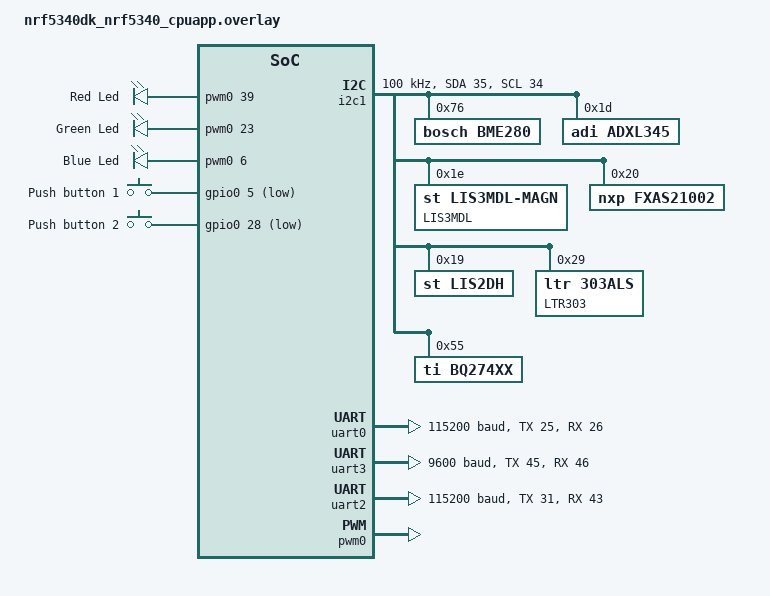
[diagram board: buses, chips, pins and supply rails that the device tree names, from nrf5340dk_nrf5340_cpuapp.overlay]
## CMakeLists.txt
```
# SPDX-License-Identifier: Apache-2.0

# This build is dependent on:
#  - ZEPHYR_BASE
# Please add the path locations in your $ENV settings



cmake_minimum_required(VERSION 3.20.0)

set(NRF_SUPPORTED_BOARDS nrf5340dk_nrf5340_cpuapp)

list(APPEND ZEPHYR_EXTRA_MODULES ${CMAKE_CURRENT_SOURCE_DIR}/ltr303)
list(APPEND ZEPHYR_EXTRA_MODULES ${CMAKE_CURRENT_SOURCE_DIR}/icg20330)
list(APPEND ZEPHYR_EXTRA_MODULES ${CMAKE_CURRENT_SOURCE_DIR}/bq27520)
list(APPEND ZEPHYR_EXTRA_MODULES ${CMAKE_CURRENT_SOURCE_DIR}/ubxlib)
#list(APPEND ZEPHYR_EXTRA_MODULES $ENV{UBXLIB_BASE})


find_package(Zephyr REQUIRED HINTS $ENV{ZEPHYR_BASE})
project(c210_SensorAggregation)


target_include_directories(app PRIVATE ${CMAKE_CURRENT_SOURCE_DIR}/src/ublox_modules)
target_include_directories(app PRIVATE ${CMAKE_CURRENT_SOURCE_DIR}/src/ublox_modules/cell)
target_include_directories(app PRIVATE ${CMAKE_CURRENT_SOURCE_DIR}/src/ublox_modules/wifi)
target_include_directories(app PRIVATE ${CMAKE_CURRENT_SOURCE_DIR}/src/ublox_modules/position)
target_include_directories(app PRIVATE ${CMAKE_CURRENT_SOURCE_DIR}/src/ublox_modules/ble)
target_include_directories(app PRIVATE ${CMAKE_CURRENT_SOURCE_DIR}/src/ublox_modules/ble/mobile_app_protocol)
target_include_directories(app PRIVATE ${CMAKE_CURRENT_SOURCE_DIR}/src/ublox_modules/nfc)
target_include_directories(app PRIVATE ${CMAKE_CURRENT_SOURCE_DIR}/src/sensors)
target_include_directories(app PRIVATE ${CMAKE_CURRENT_SOURCE_DIR}/src/data_handle)
target_include_directories(app PRIVATE ${CMAKE_CURRENT_SOURCE_DIR}/src/buttons_leds)
target_include_directories(app PRIVATE ${CMAKE_CURRENT_SOURCE_DIR}/src/system)
target_include_directories(app PRIVATE ${CMAKE_CURRENT_SOURCE_DIR}/src/shell_cmd)
target_include_directories(app PRIVATE ${CMAKE_CURRENT_SOURCE_DIR}/src)

FILE(GLOB app_sources src/*.c)
FILE(GLOB head_sources src/*.h)
FILE(GLOB sensor_sources src/sensors/*.c)
FILE(GLOB ublox_modules_sources src/ublox_modules/*.c)
FILE(GLOB ublox_modules_cell_sources src/ublox_modules/cell/*.c)
FILE(GLOB ublox_modules_wifi_sources src/ublox_modules/wifi/*.c)
FILE(GLOB ublox_modules_position_sources src/ublox_modules/position/*.c)
FILE(GLOB ublox_modules_ble_sources src/ublox_modules/ble/*.c)
FILE(GLOB ublox_modules_mobile_app_protocol_sources src/ublox_modules/ble/mobile_app_protocol/*.c)
FILE(GLOB ublox_modules_nfc_sources src/ublox_modules/nfc/*.c)
FILE(GLOB data_handle_sources src/data_handle/*.c)
FILE(GLOB buttons_leds_sources src/buttons_leds/*.c)
FILE(GLOB system_sources src/system/*.c)
FILE(GLOB shell_cmd_sources src/shell_cmd/*.c)

target_sources(app PRIVATE ${app_sources})
target_sources(app PRIVATE ${head_sources})
target_sources(app PRIVATE ${sensor_sources})
target_sources(app PRIVATE ${ublox_modules_sources})
target_sources(app PRIVATE ${ublox_modules_cell_sources})
target_sources(app PRIVATE ${ublox_modules_wifi_sources})
target_sources(app PRIVATE ${ublox_modules_position_sources})
target_sources(app PRIVATE ${ublox_modules_ble_sources})
target_sources(app PRIVATE ${ublox_modules_mobile_app_protocol_sources})
target_sources(app PRIVATE ${ublox_modules_nfc_sources})
target_sources(app PRIVATE ${data_handle_sources})
target_sources(app PRIVATE ${buttons_leds_sources})
target_sources(app PRIVATE ${system_sources})
target_sources(app PRIVATE ${shell_cmd_sources})
```

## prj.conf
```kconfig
# --- Zephyr configuration ---
CONFIG_MAX_THREAD_BYTES=5

# --- Sensor configuration ---
CONFIG_SENSOR=y
CONFIG_I2C=y
CONFIG_BME280=y
CONFIG_LIS3MDL=y
CONFIG_LIS3MDL_TRIGGER_NONE=y
CONFIG_ICG20330=y
CONFIG_LIS2DH=y
CONFIG_LIS2DH_TRIGGER_NONE=y
CONFIG_LTR303=y
# include both battery gauges and choose in runtime which to use
CONFIG_BQ27520=y
CONFIG_BQ274XX=y
CONFIG_SENSOR_LOG_LEVEL_WRN=y

# --- Led Configuration ---
CONFIG_PWM=y
CONFIG_LED=y
CONFIG_LED_PWM=y


# --- Logger Configuration ---
CONFIG_LOG=y
CONFIG_LOG_PRINTK=y
CONFIG_LOG_MODE_DEFERRED=y
CONFIG_LOG_DETECT_MISSED_STRDUP=n
CONFIG_LOG_RUNTIME_FILTERING=y
CONFIG_LOG_BUFFER_SIZE=16384
CONFIG_LOG_PROCESS_TRIGGER_THRESHOLD=0

CONFIG_STDOUT_CONSOLE=y
CONFIG_CBPRINTF_FP_SUPPORT=y

# --- Command shell configuration ---
CONFIG_SHELL=y
CONFIG_SHELL_CMDS=n
CONFIG_KERNEL_SHELL=n
CONFIG_DEVICE_SHELL=n
CONFIG_DEVMEM_SHELL=n
CONFIG_FLASH_SHELL=n
CONFIG_PWM_SHELL=n
CONFIG_CLOCK_CONTROL_NRF_SHELL=n
CONFIG_I2C_SHELL=n
#cool sensor reading for dedicated sensor but some peripheral 
#readings may cause instabilities. Better to keep it off to retain
#control over the shell
CONFIG_SENSOR_SHELL=n 


# enable to use Segger SystemView (with thread names)
#CONFIG_THREAD_NAME=y
#CONFIG_SEGGER_SYSTEMVIEW=y
#CONFIG_USE_SEGGER_RTT=y
#CONFIG_TRACING=y


# --- Flash Configuration / Little FS config ------
CONFIG_FLASH=y
CONFIG_FLASH_MAP=y
CONFIG_FLASH_PAGE_LAYOUT=y

CONFIG_FILE_SYSTEM=y
CONFIG_FILE_SYSTEM_LITTLEFS=y


# --- NFC Configuration ------
CONFIG_NFC_T2T_NRFXLIB=y
CONFIG_NFC_NDEF=y
CONFIG_NFC_NDEF_MSG=y
CONFIG_NFC_NDEF_RECORD=y
CONFIG_NFC_NDEF_URI_MSG=y
CONFIG_NFC_NDEF_URI_REC=y



###########################################
# --- used by ubxlib ---


CONFIG_DEBUG=y
CONFIG_MINIMAL_LIBC=n
# This is the memory used by the porting layer
CONFIG_HEAP_MEM_POOL_SIZE=131072
CONFIG_USERSPACE=y
#CONFIG_NET_BUF_USER_DATA_SIZE=4

CONFIG_MINIMAL_LIBC_MALLOC=n

# Enable ubxlib
CONFIG_UBXLIB=y

CONFIG_UBXLIB_GNSS=y

CONFIG_UART_INTERRUPT_DRIVEN=y

#To get uPortTaskStackMinFree() working
CONFIG_INIT_STACKS=y
CONFIG_THREAD_STACK_INFO=y
CONFIG_THREAD_NAME=y

# To be able to use semaphore from ISR
#CONFIG_IRQ_OFFLOAD=y

#Sufficient main stack to pass all tests and leave
#5 kbytes slack for user code
CONFIG_MAIN_STACK_SIZE=7048

# Add the basic Zephyr random number generator.
# IMPORTANT: this is only psuedo-random and is unlikely
# to be  sufficient for your needs, please check/test
# if you are intending to build production code.
#CONFIG_TEST_RANDOM_GENERATOR=n
#CONFIG_ENTROPY_DEVICE_RANDOM_GENERATOR=n

# Don't hide any potential errors
CONFIG_ASSERT=y

# SEGGER RTT logging instead of UART
CONFIG_LOG=y
CONFIG_LOG_DEFAULT_LEVEL=3
#If Log level 4 is set the log stack size needs to be increased
#CONFIG_LOG_PROCESS_THREAD_STACK_SIZE=8096
CONFIG_DEBUG_OPTIMIZATIONS=y
CONFIG_USE_SEGGER_RTT=n
#CONFIG_RTT_CONSOLE=n
CONFIG_UART_CONSOLE=y
CONFIG_LOG_BACKEND_UART=n
#CONFIG_LOG_BACKEND_SHOW_COLOR=y
# End of SEGGER RTT

# Enable debug thread info
CONFIG_OPENOCD_SUPPORT=y



###########################################
# --- Bluetooth ---

CONFIG_BT=y
CONFIG_BT_PERIPHERAL=y
CONFIG_BT_DEVICE_NAME="XPLR_IOT_1"
CONFIG_BT_DEVICE_APPEARANCE=833
CONFIG_BT_MAX_CONN=1
CONFIG_BT_MAX_PAIRED=1

## BLE MTU Config
CONFIG_BT_BUF_ACL_RX_SIZE=251
CONFIG_BT_BUF_ACL_TX_SIZE=251
CONFIG_BT_L2CAP_TX_MTU=247
#CONFIG_BT_CTLR_DATA_LENGTH_MAX=251

# Enable the NUS service
CONFIG_BT_NUS=y

# -- BLE Address Change --
CONFIG_BT_HCI_VS=y
CONFIG_BT_HCI_VS_EXT=y
CONFIG_SETTINGS=y
# This option will produce a harmless error
# It does not affect functionality
CONFIG_SETTINGS_NONE=y
CONFIG_BT_SETTINGS=y
```

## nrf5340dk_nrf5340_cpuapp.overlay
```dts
&i2c1 {
    compatible = "nordic,nrf-twim";
	status = "okay";
	sda-pin = < 35 >;
	scl-pin = < 34 >;
    clock-frequency = <I2C_BITRATE_STANDARD>;  
	
	bme280@76 {
		compatible = "bosch,bme280";
		reg = <0x76>;
		label = "BME280";
	};

	adxl345@1D {
		compatible = "adi,adxl345";
		reg = <0x1D>;
		label = "ADXL345";
	};

	lis3mdl@1E {
		compatible = "st,lis3mdl-magn";
		reg = <0x1E>;
		label = "LIS3MDL";
	};

	fxas21002@20 {
		compatible = "nxp,fxas21002";
		reg = <0x20>;
		label = "FXAS21002";
	};

	lis2dh@19 {
		compatible = "st,lis2dh";
		reg = <0x19>;
		label = "LIS2DH";
	};

	ltr303: ltr303@29 { 
		compatible = "ltr,303als"; 
		reg = <0x29>; 
		label = "LTR303"; 
	};

	bq27421@55 {
		compatible = "ti,bq274xx";
		label = "BQ274XX";
		reg = <0x55>;
		design-voltage = <3700>;
		design-capacity = <1200>;
		taper-current = <45>;
		terminate-voltage = <3000>;
	};
};

// console uart
&uart0 {
	status = "okay";
	current-speed = <115200>;
	tx-pin = <25>;
	rx-pin = <26>;
	rts-pin = <27>;
	cts-pin = <24>;
};


// MaxM10S uart
&uart3 {
	status = "okay";
	current-speed = <9600>;//38400
	tx-pin = <45>;
	rx-pin = <46>;
};

// Default configuration is set on the NINA-W156 pins, the same UART is also used by SARA-R5
&uart2 {
	status = "okay";
	current-speed = <115200>;
	tx-pin = <31>;  
	rx-pin = <43>;
	cts-pin = <30>;  
	rts-pin = <20>;  
	hw-flow-control;
};


// Buttons
&button0 {
	gpios = <&gpio0 5 (GPIO_PULL_UP | GPIO_ACTIVE_LOW)>;
	label = "Push button 1";
};

&button1 {
	gpios = <&gpio0 28 (GPIO_PULL_UP | GPIO_ACTIVE_LOW)>;
	label = "Push button 2";
};

//PWM for Led control brightness
&pwm0 {
	status = "okay";
	ch0-pin = <39>;
	ch1-pin = <23>;
	ch2-pin = <6>;
};

// Leds at PWM channels
/{
	pwmleds {
		compatible = "pwm-leds";
		
		pwm_led0: pwm_led_0 {
			pwms = <&pwm0 39>;
			label = "Red Led";
		};
		
		pwm_led1: pwm_led_1 {
			pwms = <&pwm0 23>;
			label = "Green Led";
		};
		
		pwm_led2: pwm_led_2 {
			pwms = <&pwm0 6>;
			label = "Blue Led";
		};

	};

			
};
```

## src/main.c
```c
/*
 * Copyright 2022 u-blox Ltd
 *
 * Licensed under the Apache License, Version 2.0 (the "License");
 * you may not use this file except in compliance with the License.
 * You may obtain a copy of the License at
 * 
	http://www.apache.org/licenses/LICENSE-2.0
 * 
 * Unless required by applicable law or agreed to in writing, software
 * distributed under the License is distributed on an "AS IS" BASIS,
 * WITHOUT WARRANTIES OR CONDITIONS OF ANY KIND, either express or implied.
 * See the License for the specific language governing permissions and
 * limitations under the License.
 */


/** @file
 * @brief File containing the main function of the application,
 *  In this application the main function just initializes the necessary modules
 *  The rest of the application is executed via Threads/ commands 
 *  ( shell commands or button press actions )
 */

#include <zephyr.h>
#include <logging/log.h>
#include <logging/log_ctrl.h>

#include "x_sens_bme280.h"
#include "x_sens_lis3mdl.h"
#include "x_sens_icg20330.h"
#include "x_sens_lis2dh12.h"
#include "x_sens_ltr303.h"
#include "x_sens_battery_gauge.h"
#include "x_sens_common.h"

#include "x_pos_maxm10s.h"
#include "x_wifi_ninaW156.h"
#include "x_cell_saraR5.h"
#include "x_nfc.h"
#include "x_ble.h"

#include "x_storage.h"
#include "x_button.h"
#include "x_led.h"

#include "x_logging.h"



// Just initialization processes
void main(void)
{

	// Reclaim pins assigned to Net core for use with App core
	xPinConfReclaimNetCorePins();

	//Initialize sensors
	xSensBme280Init();
	xSensLis3mdlInit();
	xSensIcg20330Init();
	xSensLis2dh12Init();
	xSensLtr303Init();
	xSensBatGaugeInit();

	// Set sensors to not sample until command given
	xSensDisableAll();

	xLedInit();
		
	// Initialize ublox modules
	xCellSaraConfigPins();
	xWifiNinaConfigPins();
	xPosMaxM10ConfigPins();

    // Set GNSS position not to be sampled until command given
	xPosMaxM10Disable();

    // Initializes non-Volatile memory of NORA-B1 for use with littlefs
	//xStorageInit();
	xButtonsConfig();

	// Set the Logger module status to a desired startup config
	// before that process any pending log messages from startup
	// procedures
	while( log_process(false) ){
		;
	}
	xLogStartupConfig();

	// Bluetooth LE (BLE) Functionality
	xBleInit();
	xBleStartAdvertising();

	// MFC Functionality
	xNfcConfig();
	xNfcInit();

	/* From now on the application waits for commands from the user
	 * (either via shell UART terminal or via button presses or BLE commands)
	 * and enables the appropriate threads (or functions) to execute those
	 * commands. You can access shell commands in source code from shell_cmd 
	 * directory.
	*/
}
```

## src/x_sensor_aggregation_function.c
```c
/*
 * Copyright 2022 u-blox Ltd
 *
 * Licensed under the Apache License, Version 2.0 (the "License");
 * you may not use this file except in compliance with the License.
 * You may obtain a copy of the License at
 * 
    http://www.apache.org/licenses/LICENSE-2.0
 * 
 * Unless required by applicable law or agreed to in writing, software
 * distributed under the License is distributed on an "AS IS" BASIS,
 * WITHOUT WARRANTIES OR CONDITIONS OF ANY KIND, either express or implied.
 * See the License for the specific language governing permissions and
 * limitations under the License.
 */


/** @file
 * @brief This file contains the API implementation to access the main
 * functionality of Sensor Aggregation Use Case for XPLR-IOT-1.
 */

#include "x_sensor_aggregation_function.h"

// Zephyr-SDK related
#include <zephyr.h>
#include <stdlib.h>  //atoi
#include <logging/log.h>

// Application Related
#include "x_wifi_ninaW156.h"
#include "x_cell_saraR5.h"
#include "x_wifi_mqtt.h"
#include "x_cell_mqttsn.h"
#include "x_pos_maxm10s.h"
#include "x_logging.h"
#include "x_sens_common.h"
#include "x_data_handle.h" // reset sensor aggregation message
#include "x_system_conf.h" // default period of sens aggr functionality
#include "x_led.h"


/* ----------------------------------------------------------------
 * STATIC FUNCTION DECLARATION
 * -------------------------------------------------------------- */

/** Thread called by xSensorAggregationStartWifi to perform the necessary
 * operations */
void xSensorAggregationStartWifiThread(void);

/** Thread called by xSensorAggregationStopWifi to perform the necessary
 * operations */
void xSensorAggregationStopWifiThread(void);

/** Thread called by xSensorAggregationStartCell to perform the necessary
 * operations */
void xSensorAggregationStartCellThread(void);

/** Thread called by xSensorAggregationStopCell to perform the necessary
 * operations */
void xSensorAggregationStopCellThread(void);


/** Handle error happening in a thread */
static void SensorAggregationErrorHandle(err_code err_code);


/* ----------------------------------------------------------------
 * ZEPHYR RELATED DEFINITIONS/DECLARATIONS
 * -------------------------------------------------------------- */

LOG_MODULE_REGISTER(SENSOR_AGGREGATION_LOGMOD_NAME, LOG_LEVEL_DBG);

// Semaphore definition
K_SEM_DEFINE(xSensorAggregationStartWifi_semaphore, 0, 1);
K_SEM_DEFINE(xSensorAggregationStopWifi_semaphore, 0, 1);
K_SEM_DEFINE(xSensorAggregationStartCell_semaphore, 0, 1);
K_SEM_DEFINE(xSensorAggregationStopCell_semaphore, 0, 1);


// Threads definition
K_THREAD_DEFINE(xSensorAggregationStartWifiThreadId, SENS_AGG_STACK_SIZE, xSensorAggregationStartWifiThread, NULL, NULL, NULL,
		SENS_AGG_PRIORITY, 0, 0);

K_THREAD_DEFINE(xSensorAggregationStopWifiThreadId, SENS_AGG_STACK_SIZE, xSensorAggregationStopWifiThread, NULL, NULL, NULL,
		SENS_AGG_PRIORITY, 0, 0);

K_THREAD_DEFINE(xSensorAggregationStartCellThreadId, SENS_AGG_STACK_SIZE, xSensorAggregationStartCellThread, NULL, NULL, NULL,
		SENS_AGG_PRIORITY, 0, 0);

K_THREAD_DEFINE(xSensorAggregationStopCellThreadId, SENS_AGG_STACK_SIZE, xSensorAggregationStopCellThread, NULL, NULL, NULL,
		SENS_AGG_PRIORITY, 0, 0);


/* ----------------------------------------------------------------
 * GLOBALS
 * -------------------------------------------------------------- */

/** Sensor Aggregation Functionality Update (sampling) Prediod 
 * (common for all sensors when mode is enabled)
*/
static uint32_t gUpdatePeriod = SENS_AGG_DEFAULT_UPDATE_PERIOD_MS;

/** Holds Sensor Aggregation Mode - default is disabled*/
xSensorAggregationMode_t gCurrentMode = xSensAggModeDisabled;


/** Holds the result of the last operation performed by this module
 *  (mostly refer to operations performed by threads) */
static err_code gLastOperationResult = X_ERR_SUCCESS;


/** Flag to signal when it is ok to use start or stop functions/commands
 * see: xSensorAggregationIsLocked description
*/
static bool gFunctionIsLocked = false;


/* ----------------------------------------------------------------
 * STATIC FUNCTION IMPLEMENTATION
 * -------------------------------------------------------------- */

static void SensorAggregationErrorHandle(err_code err_code){
    gLastOperationResult = err_code;
    xLedBlink( ERROR_LEDCOL, ERROR_LED_DELAY_ON, ERROR_LED_DELAY_OFF, ERROR_LED_BLINKS);
}


void xSensorAggregationStartWifiThread(void){

    bool lock_function_on_entrance_copy = gFunctionIsLocked;

    while(1){

        //revert lock to its previous state after execution
        gFunctionIsLocked = lock_function_on_entrance_copy;

        // Semaphore given by xSensorAggregationStartWifi()
        k_sem_take( &xSensorAggregationStartWifi_semaphore, K_FOREVER );

        // keep lock previous state
        lock_function_on_entrance_copy = gFunctionIsLocked;
        // lock
        gFunctionIsLocked = true;

        if( gCurrentMode == xSensAggModeWifi ){
            LOG_INF("WiFi Sensor Aggregation is already on with period: %d ms \r\n", gUpdatePeriod);
            continue;
        }

        if( gCurrentMode == xSensAggModeCell ){
            //disable cell mode
            LOG_WRN("Cell Sensor Aggregation is already on with period: %d ms. Disabling now \r\n", gUpdatePeriod);
            xSensorAggregationStopCell();
            while( gCurrentMode == xSensAggModeCell ){
                k_sleep(K_MSEC(1000));
            }
        }

        LOG_INF("WiFi Sensor Aggregation starting with period: %d ms \r\n", gUpdatePeriod);

        xDataResetSensorAggregationMsg();
        xSensDisableAll();
        xSensPublishNone();
        gLastOperationResult = xSensSetUpdatePeriodAll( gUpdatePeriod );
        if( gLastOperationResult != X_ERR_SUCCESS ){
            LOG_ERR("There was an issue with the update Period. Abort Sensor Aggregation startup\r\n");
            SensorAggregationErrorHandle(gLastOperationResult);
            continue;
        }

        xWifiMqttClientConnect();
        xClientStatusStruct_t mqtt_stat = xWifiMqttClientGetStatus();

        // wait for connection to MQTT and check for errors
        while( ( mqtt_stat.status < ClientConnected ) && ( gLastOperationResult == X_ERR_SUCCESS ) ) {
            k_sleep(K_MSEC(1000));
            mqtt_stat = xWifiMqttClientGetStatus();
            gLastOperationResult = xWifiMqttGetLastOperationResult();
        }

        if( gLastOperationResult != X_ERR_SUCCESS ){
            LOG_ERR("Error Code from MQTT Connect Request: %d - aborting sensor aggregation initialization", gLastOperationResult);
            xSensorAggregationStopWifi();
            continue;
        }
                
        gCurrentMode = xSensAggModeWifi;

        xSensPublishAll();
        xSensEnableAll();

        xLedOn(WIFI_ACTIVATING_LEDCOL);

    }
}



void xSensorAggregationStopWifiThread(void){

    bool lock_function_on_entrance_copy = gFunctionIsLocked;

    while(1){

        //revert lock to its previous state after execution
        gFunctionIsLocked = lock_function_on_entrance_copy;

        // Semaphore given by xSensorAggregationStopWifi()
        k_sem_take( &xSensorAggregationStopWifi_semaphore, K_FOREVER );
        
        //keep a copy of current lock status and then lock
        lock_function_on_entrance_copy = gFunctionIsLocked;
        gFunctionIsLocked = true;

        LOG_DBG("WiFi Sensor Aggregation stop request \r\n");

        if( gCurrentMode == xSensAggModeCell ){
            LOG_INF("Cell Sensor Aggregation mode is enabled. Abort Action \r\n");
            continue;
        }

        xWifiNinaDeinit(); //also deinitiliazes ubxlib

        xWifiNinaStatus_t nina_stat = xWifiNinaGetModuleStatus();
        //in deinitialization we do not check for errors
        while( nina_stat.uStatus > uPortNotInitialized ){
            k_sleep(K_MSEC(1000));
            nina_stat = xWifiNinaGetModuleStatus();
        }

        xWifiNinaPowerOff();

        xSensDisableAll();
        xSensPublishNone();

        // also power off MaxM10 module since it is not used
        xPosMaxM10PowerOff();

        LOG_INF("WiFi Sensor Aggregation stopped \r\n");
        gCurrentMode = xSensAggModeDisabled;
    }
}



void xSensorAggregationStartCellThread(void){

    bool lock_function_on_entrance_copy = gFunctionIsLocked;

    while(1){
        
        //revert lock to its previous state after execution
        gFunctionIsLocked = lock_function_on_entrance_copy;
        
        //Semaphore given by xSensorAggregationStartCell()
        k_sem_take( &xSensorAggregationStartCell_semaphore, K_FOREVER );
        
        //keep a copy of current lock status and then lock
        lock_function_on_entrance_copy = gFunctionIsLocked;
        gFunctionIsLocked = true;

        if( gCurrentMode == xSensAggModeCell ){
            LOG_INF("Cell Sensor Aggregation is already on with period: %d ms \r\n", gUpdatePeriod);
            continue;
        }

        if( gCurrentMode == xSensAggModeWifi ){
            //disable wifi mode
            LOG_WRN("WiFi Sensor Aggregation is already on with period: %d ms. Disabling now \r\n", gUpdatePeriod);
            xSensorAggregationStopWifi();
            while( gCurrentMode == xSensAggModeWifi ){
                k_sleep(K_MSEC(1000));
            }
        }

        LOG_INF("Cell Sensor Aggregation starting with period: %d ms \r\n", gUpdatePeriod);

        xDataResetSensorAggregationMsg();
        xSensDisableAll();
        xSensPublishNone();
        gLastOperationResult = xSensSetUpdatePeriodAll( gUpdatePeriod );
        if( gLastOperationResult != X_ERR_SUCCESS ){
            LOG_ERR("There was an issue with the update Period. Abort Sensor Aggregation startup\r\n");
            SensorAggregationErrorHandle(gLastOperationResult);
            continue;
        }

        xCellMqttSnClientConnect();
        xClientStatus_t mqttsn_stat = xCellMqttSnClientGetStatus();
        
        //wait for connection and check for errors
        while( ( mqttsn_stat < ClientConnected ) && ( gLastOperationResult == X_ERR_SUCCESS ) ) {
            k_sleep(K_MSEC(1000));
            mqttsn_stat = xCellMqttSnClientGetStatus();
            gLastOperationResult = xCellMqttSnGetLastOperationResult();
        }

        if(gLastOperationResult != X_ERR_SUCCESS ){
                LOG_ERR("Error Code from MQTT-SN Connect Request: %d - aborting sensor aggregation initialization", gLastOperationResult);
                xSensorAggregationStopCell();
                continue;
        }
        
        gCurrentMode = xSensAggModeCell;

        xSensPublishAll();
        xSensEnableAll();

        xLedOn(CELL_ACTIVATING_LEDCOL);

    }
}


void xSensorAggregationStopCellThread(void){

    bool lock_function_on_entrance_copy = gFunctionIsLocked;

    while(1){
       
        //revert lock to its previous state after execution
        gFunctionIsLocked = lock_function_on_entrance_copy;

         // Semaphore given by xSensorAggregationStopCell()
        k_sem_take( &xSensorAggregationStopCell_semaphore, K_FOREVER );

        // keep current lock status copy and then lock
        lock_function_on_entrance_copy = gFunctionIsLocked;
        gFunctionIsLocked = true;

        LOG_DBG("Cell Sensor Aggregation stop request \r\n");

        if( gCurrentMode == xSensAggModeWifi ){
            LOG_INF("Cell Sensor Aggregation mode is enabled. Abort Action \r\n");
            continue;
        }

        xCellSaraDeinit(); //also deinitiliazes ubxlib

        xCellSaraStatus_t sara_stat = xCellSaraGetModuleStatus();
        //in deinitialization we do not check for errors
        while( sara_stat.uStatus > uPortNotInitialized ){
            k_sleep(K_MSEC(1000));
            sara_stat = xCellSaraGetModuleStatus();
        }

        xSensDisableAll();
        xSensPublishNone();

        // also power off MaxM10 module since it is not used
        xPosMaxM10PowerOff();
        
        LOG_INF("Cell Sensor Aggregation stopped \r\n");
        gCurrentMode = xSensAggModeDisabled;
    }

}


/* ----------------------------------------------------------------
 * PUBLIC FUNCTION IMPLEMENTATION
 * -------------------------------------------------------------- */


void xSensorAggregationStartWifi(void){
    k_sem_give( &xSensorAggregationStartWifi_semaphore );
}


void xSensorAggregationStopWifi(void){
    k_sem_give( &xSensorAggregationStopWifi_semaphore );
}


void xSensorAggregationStartCell(void){
    k_sem_give( &xSensorAggregationStartCell_semaphore );
}



void xSensorAggregationStopCell(void){
    k_sem_give( &xSensorAggregationStopCell_semaphore );
}



err_code xSensorAggregationSetUpdatePeriod(uint32_t milliseconds){
    
    err_code err;

    gUpdatePeriod = milliseconds;

    // if currrently running, update while active
    if(gCurrentMode != xSensAggModeDisabled){
        err = xSensSetUpdatePeriodAll( milliseconds );
        if( err != X_ERR_SUCCESS ){
            LOG_ERR("Invalid update period requested for Sensor Aggregation function\r\n");
            return err; 
        }
    }
    return X_ERR_SUCCESS;
}



int32_t xSensorAggregationGetUpdatePeriod(void){

    return gUpdatePeriod;
}



xSensorAggregationMode_t xSensorAggregationGetMode(void){
    return gCurrentMode;
}



bool xSensorAggregationIsLocked(void){
    return gFunctionIsLocked;
}


/* ----------------------------------------------------------------
 * SHELL COMMANDS IMPLEMENTATION
 * -------------------------------------------------------------- */


void xSensorAggregationTypeStatusCmd(const struct shell *shell, size_t argc, char **argv){
    
    const char *const xSensorAggregationMode_t_strings[]={
        [xSensAggModeDisabled] = "Disabled",
        [xSensAggModeWifi] = "WiFi mode",
        [xSensAggModeCell] = "Cell mode"
    };

    shell_print(shell, "Sensor Aggregation Function Mode: %s with sampling period: %d ms \r\n",
     xSensorAggregationMode_t_strings[gCurrentMode], gUpdatePeriod);

    return;
}



void xSensorAggregationSetUpdatePeriodCmd(const struct shell *shell, size_t argc, char **argv)
{

		// to do: Can add some sanity checks here on the period***

        if( ( xSensorAggregationSetUpdatePeriod( atoi( argv[1]) ) ) == X_ERR_SUCCESS ){
		    shell_print(shell, "Sensor Aggregation Update Period Set to %d ms", gUpdatePeriod);
        }
        else{
            shell_error(shell, "Sensor Aggregation Could not Update Period");
        }
		return;
}
```

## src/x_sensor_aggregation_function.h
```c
/*
 * Copyright 2022 u-blox Ltd
 *
 * Licensed under the Apache License, Version 2.0 (the "License");
 * you may not use this file except in compliance with the License.
 * You may obtain a copy of the License at
 * 
    http://www.apache.org/licenses/LICENSE-2.0
 * 
 * Unless required by applicable law or agreed to in writing, software
 * distributed under the License is distributed on an "AS IS" BASIS,
 * WITHOUT WARRANTIES OR CONDITIONS OF ANY KIND, either express or implied.
 * See the License for the specific language governing permissions and
 * limitations under the License.
 */


#ifndef X_SENSOR_AGGREGATION_FUNCTION_H__
#define  X_SENSOR_AGGREGATION_FUNCTION_H__


/** @file
 * @brief This file contains the API to access the main
 * functionality of Sensor Aggregation Use Case for XPLR-IOT-1.
 * This functionality is to sample all sensors with the same sampling
 * period and then send those data to thingstream portal in a single 
 * message (one message per sampling period)
 */


#include <stdint.h>
#include <stdbool.h>
#include <shell/shell.h>

#include "x_errno.h"


/* ----------------------------------------------------------------
 * TYPE DEFINITIONS
 * -------------------------------------------------------------- */

/** When Sensor Aggregation Functionality is enabled it can operate in
 * two modes:
 * - Send data over WiFi (MQTT)
 * - Send data over Cellular (MQTT-SN)
 * 
 * This enum is used to give information about the current mode of the 
 * device
*/
typedef enum{
    xSensAggModeDisabled,     /**< Sensor Aggregatio mode disabled. In this mode
                                   you can still enable sensors and send data
                                   using shell commands but each sensor will send
                                   separate messages at separate topics */
    xSensAggModeWifi,         /**< Mode enabled, send data over WiFi*/
    xSensAggModeCell          /**< Mode enabled, send data over Cellular*/
}xSensorAggregationMode_t;


/* ----------------------------------------------------------------
 * FUNCTIONS
 * -------------------------------------------------------------- */


/** Start Sensor Aggregation Functionality over WiFi. Performs all
 * necessary operations (sets up WiFi network, connects to MQTT 
 * enables sensors etc)
 * Does so, by calling the appropriate thread
 * 
 * If Sensor Aggregation functionality over Cellular is already enabled,
 * Cellular is disabled before enabling WiFi.
 * 
 * Possible error Messages are typed in uart console
*/
void xSensorAggregationStartWifi(void);


/** Stops Sensor Aggregation Functionality over WiFi. Performs all
 * necessary operations (disconnects WiFi network, disconnects MQTT 
 * disables sensors etc)
 * Does so, by calling the appropriate thread
 * 
 * Possible error Messages are typed in uart console
 * 
 * This function deinitializes any ubxlib port open and disables all
 * sensors (even if they have been setup as enabled separately by the user)
*/
void xSensorAggregationStopWifi(void);


/** Start Sensor Aggregation Functionality over Cellluar. Performs all
 * necessary operations (connects to Cell, connects to MQTT-SN 
 * enables sensors etc)
 * Does so, by calling the appropriate thread
 * 
 * If Sensor Aggregation functionality over WiFi is already enabled,
 * WiFi is disabled before enabling Cellular.
 * 
 * Possible error Messages are typed in uart console
*/
void xSensorAggregationStartCell(void);


/** Stops Sensor Aggregation Functionality over Cellular. Performs all
 * necessary operations (disconnects Cell, disconnects MQTT-SN 
 * disables sensors etc)
 * Does so, by calling the appropriate thread
 * 
 * Possible error Messages are typed in uart console
 * 
 * This function deinitializes any ubxlib port open and disables all
 * sensors (even if they have been setup as enabled separately by the user)
*/
void xSensorAggregationStopCell(void);


/** When Sensor Aggregatio mode is enabled all sensors are sampled with
 * the same period. There is a default period defined in 
 * SENS_AGG_DEFAULT_UPDATE_PERIOD_MS, however the user can change this period
 * by using this function.
 * 
 * Prerequisites: Sensor Aggregation mode should be disabled when this 
 * function is called
 * 
 * Possible errors in the period parameter are shown in the uart console
 *
 * @param milliseconds  The update period in milliseconds. Some restrictions may apply,
 *                      see xPosMaxM10TimeoutPeriodCmd() description
 * @return              zero on success else negative error code.
 */
err_code xSensorAggregationSetUpdatePeriod(uint32_t milliseconds);


/** Get currently set update period of Sensor Aggregation Functionality.
 *
 * @return        The sampling (update) period in ms.
 */
int32_t xSensorAggregationGetUpdatePeriod(void);


/** Get Sensor Aggregation Functionality current mode.
 *
 * @return        Current Sensor Aggregation Mode as 
 *                xSensorAggregationMode_t
 */
xSensorAggregationMode_t xSensorAggregationGetMode(void);


/** When Sensor Aggregation mode starts, it needs to perform some
 * configuration, connect to network etc. That might take some time.
 * In the meantime no other command to stop Sensor Aggregation mode or
 * switch mode (Cell-> Wifi or vice versa) should be issued.
 * If that happens, it may lead to unexpected results.
 * 
 * This function informs whether the Sensor Aggregation functionality
 * is locked (in the middle of config, connect etc) and commands like
 * stop or switch mode should not be issued.
 *
 * @return        True = functionality locked. Do not send new stop 
 *                or start commands.
 *                False = unlocked. The user can send any command
 */
bool xSensorAggregationIsLocked(void);


/* ----------------------------------------------------------------
 * FUNCTIONS IMPLEMENTING SHELL-COMMANDS
 * -------------------------------------------------------------- */

/** This function is intented only to be used as a command executed by the shell.
 * It basically types the current xSensorAggregationMode_t mode of the device and
 * the sampling period set for sensor aggregation functionality
 *
 * @param shell  the shell instance from which the command is given.
 * @param argc   Not used.
 * @param argv   Not used.
 */
void xSensorAggregationTypeStatusCmd(const struct shell *shell, size_t argc, char **argv);


/** This function is intented only to be used as a command executed by the shell.
 * It implements the shell command: "functions set_period <period_ms>" 
 * by calling xSensorAggregationSetUpdatePeriod()
 * 
 * @param shell  the shell instance from which the command is given.
 * @param argc   the number of parameters given along with the command (period).
 * @param argv   the array including the parameters themselves.
 */
void xSensorAggregationSetUpdatePeriodCmd(const struct shell *shell, size_t argc, char **argv);


#endif    //X_SENSOR_AGGREGATION_FUNCTION_H__
```
